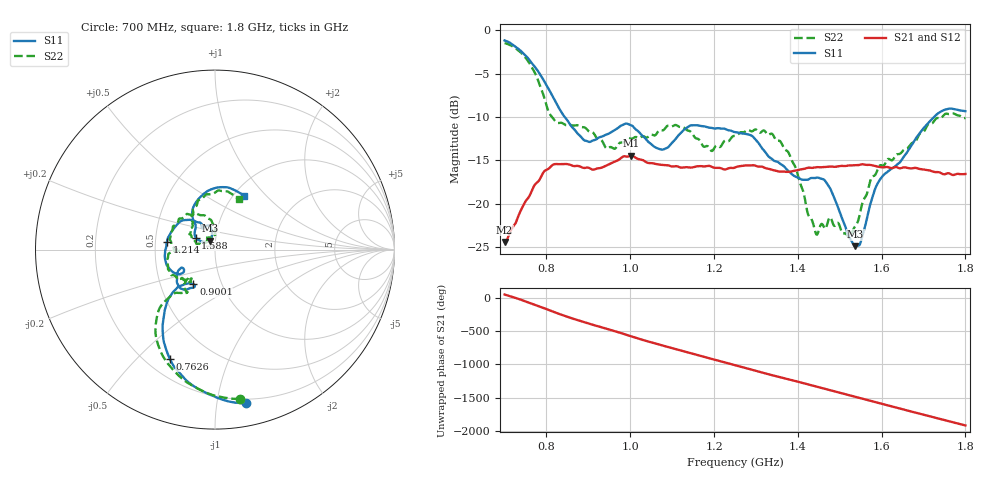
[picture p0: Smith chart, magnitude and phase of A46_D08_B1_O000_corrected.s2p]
! Created with skrf 1.9.0 (http://scikit-rf.org).
# Hz S RI R 50.0
!freq ReS11 ImS11 ReS21 ImS21 ReS12 ImS12 ReS22 ImS22
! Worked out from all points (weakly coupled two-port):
!   1601 points, 700 MHz to 1.8 GHz, reference 50 ohm
!   highest |S21| = -14.48 dB at 1.002 GHz (marker M1); lowest = -24.4 dB at 700 MHz (marker M2)
!   lowest |S11| = -24.9 dB at 1.537 GHz (marker M3), VSWR 1.12, Z = 47.2 + j4.75 ohm
!   |S11| at or under -10 dB: 843.2 MHz to 1.725 GHz (882.1 MHz wide, 68.7 % of centre)
!   |S22| runs from -24.0 to -1.5 dB; largest |S21 - S12| = 0.0036
!   S11 on the Smith chart (normalised r, x): 700 MHz: 0.17, -1.21; 762.6 MHz: 0.29, -0.63; 900.1 MHz: 0.73, -0.30; 1.214 GHz: 0.58, +0.05; 1.588 GHz: 0.80, +0.11; 1.8 GHz: 1.12, +0.76
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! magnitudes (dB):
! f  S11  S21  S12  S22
! 700 MHz  -1.2  -24.4  -24.2  -1.5
! 762.6 MHz  -3.6  -18.8  -18.8  -4.1
! 818.2 MHz  -7.9  -15.5  -15.6  -10.3
! 883.6 MHz  -12.4  -15.8  -15.7  -11.2
! 900.1 MHz  -12.9  -15.9  -15.9  -11.6
! 944.8 MHz  -12.0  -15.6  -15.6  -13.7
! 1.002 GHz  -11.0  -14.5  -14.6  -12.5
! 1.067 GHz  -13.7  -15.5  -15.4  -11.6
! 1.144 GHz  -11.0  -15.8  -15.8  -11.7
! 1.214 GHz  -11.3  -15.9  -15.9  -13.5
! 1.25 GHz  -11.8  -15.8  -15.8  -12.2
! 1.359 GHz  -15.4  -16.3  -16.3  -12.8
! 1.394 GHz  -16.9  -16.2  -16.2  -15.8
! 1.434 GHz  -17.0  -15.9  -15.8  -21.9
! 1.445 GHz  -17.0  -15.8  -15.8  -23.6
! 1.472 GHz  -17.9  -15.7  -15.7  -22.0
! 1.522 GHz  -23.9  -15.6  -15.6  -23.9
! 1.537 GHz  -24.9  -15.6  -15.6  -22.6
! 1.588 GHz  -18.0  -15.7  -15.7  -16.4
! 1.617 GHz  -16.2  -15.8  -15.8  -14.8
! 1.733 GHz  -9.6  -16.4  -16.4  -10.1
! 1.8 GHz  -9.3  -16.6  -16.6  -10.1
